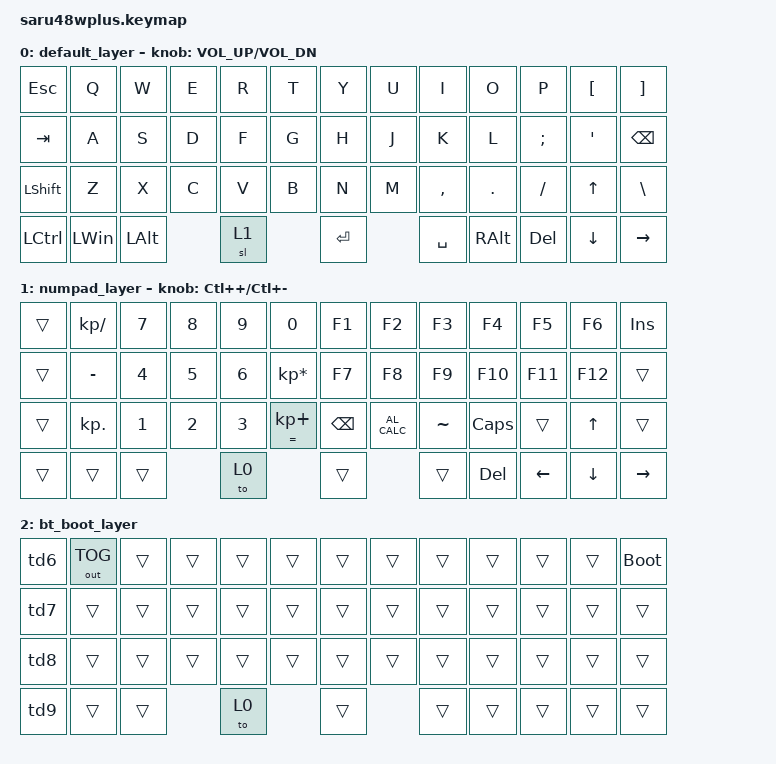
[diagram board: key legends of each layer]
/*
 * Copyright (c) 2023 Salvatore La Bua
 *
 * SPDX-License-Identifier: MIT
 */

#include <behaviors.dtsi>
#include <dt-bindings/zmk/bt.h>
#include <dt-bindings/zmk/keys.h>
#include <dt-bindings/zmk/outputs.h>

/* Layers */

#define DEFAULT 0
#define NUMPAD 1
#define BLT 2

/ {
    combos {
        compatible = "zmk,combos";

        CTRL_P {
            bindings = <&kp LC(P)>;
            key-positions = <1 3>;
        };

        to_bt_boot_layer {
            bindings = <&to 2>;
            key-positions = <5 31>;
        };

        mute {
            bindings = <&kp C_MUTE>;
            key-positions = <7 33>;
        };

        to_num_layer {
            bindings = <&to 1>;
            key-positions = <12 48>;
        };

        vol_down {
            bindings = <&kp C_VOLUME_DOWN>;
            key-positions = <7 5>;
        };

        vol_up {
            bindings = <&kp C_VOLUME_UP>;
            key-positions = <9 7>;
        };

        smile {
            bindings = <&kp RIGHT_PARENTHESIS>;
            key-positions = <4 5>;
        };
    };

    behaviors {
        td6: BT0_DISC0 {
            compatible = "zmk,behavior-tap-dance";
            #binding-cells = <0>;
            tapping-term-ms = <200>;
            bindings = <&bt BT_SEL 0>, <&bt BT_DISC 0>;
        };

        td7: BT1_DISC1 {
            compatible = "zmk,behavior-tap-dance";
            #binding-cells = <0>;
            tapping-term-ms = <200>;
            bindings = <&bt BT_SEL 1>, <&bt BT_DISC 1>;
        };

        td8: BT2_DISC2 {
            compatible = "zmk,behavior-tap-dance";
            #binding-cells = <0>;
            tapping-term-ms = <200>;
            bindings = <&bt BT_SEL 2>, <&bt BT_DISC 2>;
        };

        td9: BT3_DISC3 {
            compatible = "zmk,behavior-tap-dance";
            #binding-cells = <0>;
            tapping-term-ms = <200>;
            bindings = <&bt BT_SEL 3>, <&bt BT_DISC 3>;
        };

        td10: BT4_DISC4 {
            compatible = "zmk,behavior-tap-dance";
            #binding-cells = <0>;
            tapping-term-ms = <200>;
            bindings = <&bt BT_SEL 4>, <&bt BT_DISC 4>;
        };

        MKP: MKP {
            compatible = "zmk,behavior-mouse-key-press";
            label = "MKP";
            #binding-cells = <1>;
        };
    };

    keymap {
        compatible = "zmk,keymap";

        default_layer {
            bindings = <
&kp ESC     &kp Q     &kp W     &kp E  &kp R  &kp T  &kp Y      &kp U  &kp I      &kp O          &kp P       &kp LBKT        &kp RBKT
&kp TAB     &kp A     &kp S     &kp D  &kp F  &kp G  &kp H      &kp J  &kp K      &kp L          &kp SEMI    &kp SQT         &kp BACKSPACE
&kp LSHIFT  &kp Z     &kp X     &kp C  &kp V  &kp B  &kp N      &kp M  &kp COMMA  &kp DOT        &kp FSLH    &kp UP_ARROW    &kp BACKSLASH
&kp LCTRL   &kp LWIN  &kp LALT         &sl 1         &kp ENTER         &kp SPACE  &kp RIGHT_ALT  &kp DELETE  &kp DOWN_ARROW  &kp RIGHT_ARROW
            >;

            sensor-bindings = <&inc_dec_kp C_VOL_UP C_VOL_DN>;
        };

        numpad_layer {
            bindings = <
&trans  &kp KP_DIVIDE  &kp N7  &kp N8  &kp N9  &kp N0             &kp F1         &kp F2         &kp F3     &kp F4        &kp F5    &kp F6    &kp INSERT
&trans  &kp MINUS      &kp N4  &kp N5  &kp N6  &kp KP_ASTERISK    &kp F7         &kp F8         &kp F9     &kp F10       &kp F11   &kp F12   &trans
&trans  &kp KP_DOT     &kp N1  &kp N2  &kp N3  &mt EQUAL KP_PLUS  &kp BACKSPACE  &kp C_AL_CALC  &kp TILDE  &kp CAPSLOCK  &trans    &kp UP    &trans
&trans  &trans         &trans          &to 0                      &trans                        &trans     &kp DEL       &kp LEFT  &kp DOWN  &kp RIGHT
            >;

            sensor-bindings = <&inc_dec_kp LC(PLUS) LC(MINUS)>;
        };

        bt_boot_layer {
            bindings = <
&td6  &out OUT_TOG  &trans  &trans  &trans  &trans  &trans  &trans  &trans  &trans  &trans  &trans  &bootloader
&td7  &trans        &trans  &trans  &trans  &trans  &trans  &trans  &trans  &trans  &trans  &trans  &trans
&td8  &trans        &trans  &trans  &trans  &trans  &trans  &trans  &trans  &trans  &trans  &trans  &trans
&td9  &trans        &trans          &to 0           &trans          &trans  &trans  &trans  &trans  &trans
            >;
        };
    };
};
